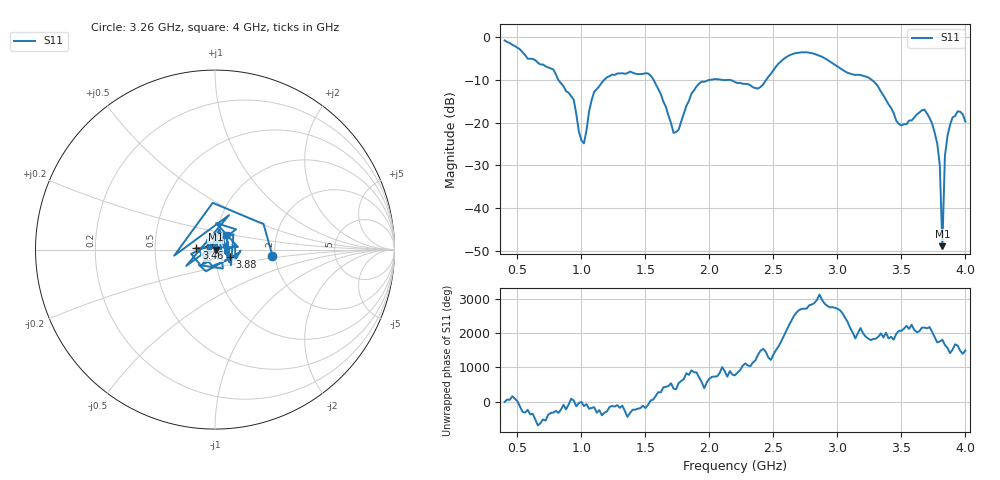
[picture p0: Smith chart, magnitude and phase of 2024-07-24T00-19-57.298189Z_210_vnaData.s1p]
!Created with skrf (http://scikit-rf.org).
# Hz S RI R 50.0
!freq ReS11 ImS11
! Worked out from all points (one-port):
!   181 points, 400 MHz to 4 GHz, reference 50 ohm
!   lowest |S11| = -48.9 dB at 3.82 GHz (marker M1), VSWR 1.01, Z = 50.4 + j0.0205 ohm
!   |S11| at or under -10 dB: 819.4 MHz to 1.178 GHz (359.1 MHz wide, 35.9 % of centre); 1.564 GHz to 2.007 GHz (443 MHz wide, 24.8 % of centre); 3.267 GHz to end of sweep (the widest 3 of 4)
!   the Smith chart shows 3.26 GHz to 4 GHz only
!   S11 on the Smith chart (normalised r, x): 3.26 GHz: 1.93, -0.15; 3.46 GHz: 0.81, +0.01; 3.88 GHz: 1.18, -0.10; 4 GHz: 1.12, +0.18
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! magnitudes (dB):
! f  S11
! 400 MHz  -0.8
! 780 MHz  -7.6
! 860 MHz  -11.5
! 940 MHz  -14.6
! 980 MHz  -22.1
! 1.02 GHz  -24.9
! 1.1 GHz  -12.8
! 1.3 GHz  -8.5
! 1.54 GHz  -9.0
! 1.72 GHz  -22.4
! 1.76 GHz  -21.7
! 1.86 GHz  -13.2
! 1.92 GHz  -10.9
! 2.2 GHz  -10.5
! 2.38 GHz  -12.1
! 2.66 GHz  -3.9
! 3.1 GHz  -8.5
! 3.26 GHz  -9.8
! 3.46 GHz  -19.6
! 3.56 GHz  -19.5
! 3.68 GHz  -17.0
! 3.76 GHz  -22.4
! 3.8 GHz  -30.0
! 3.82 GHz  -48.9
! 3.84 GHz  -27.8
! 3.88 GHz  -20.5
! 3.94 GHz  -17.4
! 4 GHz  -19.8
